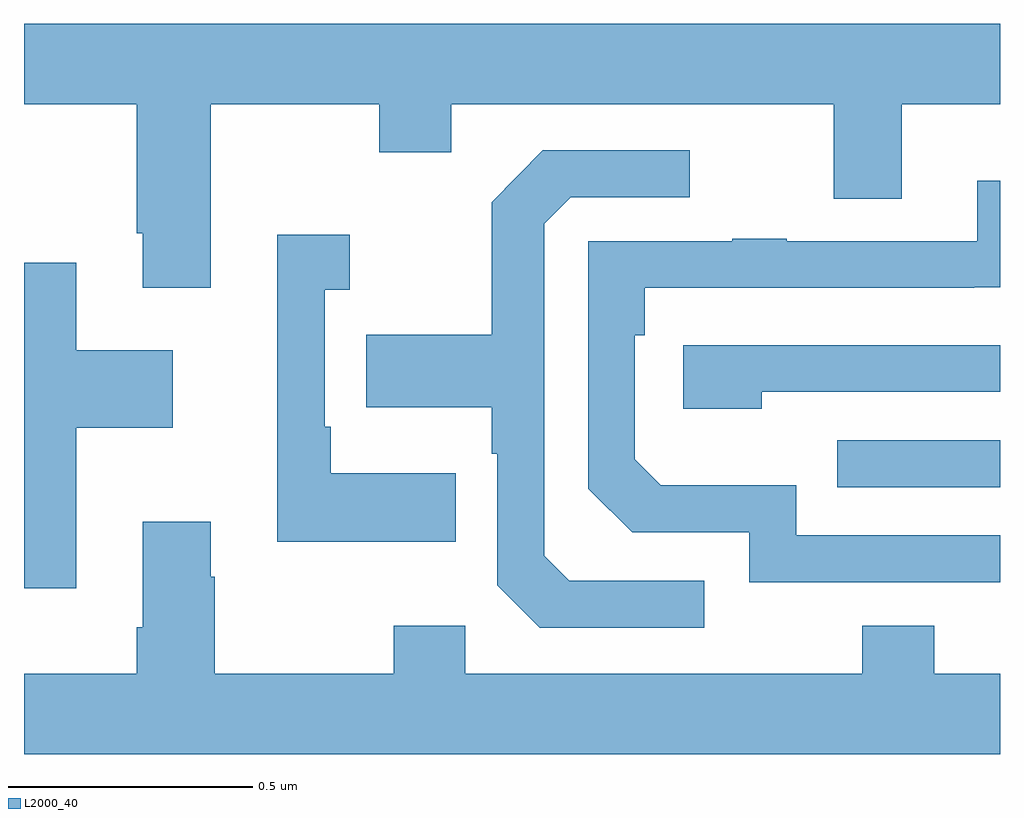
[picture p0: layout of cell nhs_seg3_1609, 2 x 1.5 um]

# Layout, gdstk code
import gdstk
lib = gdstk.Library(unit=1e-6, precision=1e-09)
def R(c, l, rs):  # rectangles x0, y0, x1, y1
    for r in rs: c.add(gdstk.rectangle(r[:2], r[2:], *l))
def P(c, l, *ps):  # polygons
    for p in ps: c.add(gdstk.Polygon(p, *l))
L2000_40 = (2000, 40)

nhs_seg3_1609 = lib.new_cell('nhs_seg3_1609')
R(nhs_seg3_1609, L2000_40, [(132.667,668.163,133,668.259)])
P(nhs_seg3_1609, L2000_40, [(131.383,668.948),(131.728,668.948),(131.728,668.849),(131.875,668.849),(131.875,668.948),(132.659,668.948),(132.659,668.754),(132.799,668.754),(132.799,668.948),(133,668.948),(133,669.112),(131,669.112),(131,668.948),(131.231,668.948),(131.231,668.683),(131.243,668.683),(131.243,668.571),(131.383,668.571)],
  [(132.394,667.971),(132.117,667.971),(132.066,668.022),(132.066,668.703),(132.12,668.757),(132.364,668.757),(132.364,668.853),(132.063,668.853),(131.958,668.747),(131.958,668.475),(131.701,668.475),(131.701,668.327),(131.958,668.327),(131.958,668.231),(131.97,668.231),(131.97,667.962),(132.057,667.875),(132.394,667.875)],
  [(133,668.064),(132.582,668.064),(132.582,668.167),(132.305,668.167),(132.252,668.22),(132.252,668.474),(132.272,668.474),(132.272,668.571),(132.947,668.571),(132.947,668.572),(133,668.572),(133,668.791),(132.953,668.791),(132.953,668.667),(132.563,668.667),(132.563,668.672),(132.451,668.672),(132.451,668.667),(132.156,668.667),(132.156,668.16),(132.246,668.07),(132.486,668.07),(132.486,667.968),(133,667.968)],
  [(131.885,668.191),(131.629,668.191),(131.629,668.287),(131.616,668.287),(131.616,668.567),(131.668,668.567),(131.668,668.68),(131.519,668.68),(131.519,668.051),(131.885,668.051)],
  [(131.107,668.285),(131.305,668.285),(131.305,668.443),(131.107,668.443),(131.107,668.623),(131,668.623),(131,667.956),(131.107,667.956)],
  [(132.512,668.358),(133,668.358),(133,668.454),(132.351,668.454),(132.351,668.324),(132.512,668.324)],
  [(133,667.78),(132.865,667.78),(132.865,667.879),(132.718,667.879),(132.718,667.78),(131.904,667.78),(131.904,667.879),(131.758,667.879),(131.758,667.78),(131.391,667.78),(131.391,667.979),(131.383,667.979),(131.383,668.092),(131.243,668.092),(131.243,667.876),(131.231,667.876),(131.231,667.78),(131,667.78),(131,667.616),(133,667.616)])

lib.write_gds('nhs_seg3_1609.gds')
